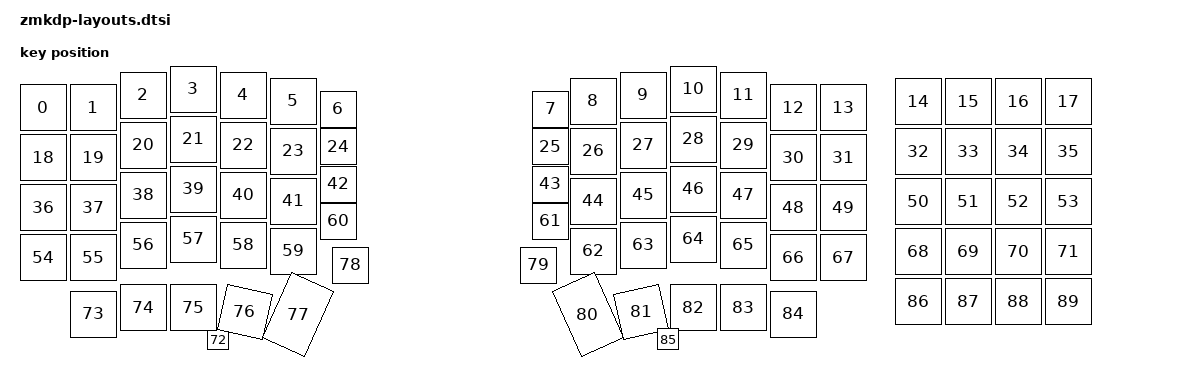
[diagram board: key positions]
#include <physical_layouts.dtsi>

/ {
    physical_layout_zmkdp: physical_layout_zmkdp {
        compatible = "zmk,physical-layout";
        display-name = "zmkdp";
        keys  //                     w   h    x    y     rot    rx    ry
            = <&key_physical_attrs 100 100    0   37       0     0    37>
            , <&key_physical_attrs 100 100  100   37       0   100    37>
            , <&key_physical_attrs 100 100  200   12       0   200    12>
            , <&key_physical_attrs 100 100  300    0       0   300     0>
            , <&key_physical_attrs 100 100  400   12       0   400    12>
            , <&key_physical_attrs 100 100  500   24       0   500    24>
            , <&key_physical_attrs  80  80  600   50       0   600    50>
            , <&key_physical_attrs  80  80 1025   50       0  1025    50>
            , <&key_physical_attrs 100 100 1100   24       0  1100    24>
            , <&key_physical_attrs 100 100 1200   12       0  1200    12>
            , <&key_physical_attrs 100 100 1300    0       0  1300     0>
            , <&key_physical_attrs 100 100 1400   12       0  1400    12>
            , <&key_physical_attrs 100 100 1500   37       0  1500    37>
            , <&key_physical_attrs 100 100 1600   37       0  1600    37>
            , <&key_physical_attrs 100 100 1750   25       0  1750    25>
            , <&key_physical_attrs 100 100 1850   25       0  1850    25>
            , <&key_physical_attrs 100 100 1950   25       0  1950    25>
            , <&key_physical_attrs 100 100 2050   25       0  2050    25>
            , <&key_physical_attrs 100 100    0  137       0     0   137>
            , <&key_physical_attrs 100 100  100  137       0   100   137>
            , <&key_physical_attrs 100 100  200  112       0   200   112>
            , <&key_physical_attrs 100 100  300  100       0   300   100>
            , <&key_physical_attrs 100 100  400  112       0   400   112>
            , <&key_physical_attrs 100 100  500  124       0   500   124>
            , <&key_physical_attrs  80  80  600  125       0   600   125>
            , <&key_physical_attrs  80  80 1025  125       0  1025   125>
            , <&key_physical_attrs 100 100 1100  124       0  1100   124>
            , <&key_physical_attrs 100 100 1200  112       0  1200   112>
            , <&key_physical_attrs 100 100 1300  100       0  1300   100>
            , <&key_physical_attrs 100 100 1400  112       0  1400   112>
            , <&key_physical_attrs 100 100 1500  137       0  1500   137>
            , <&key_physical_attrs 100 100 1600  137       0  1600   137>
            , <&key_physical_attrs 100 100 1750  125       0  1750   125>
            , <&key_physical_attrs 100 100 1850  125       0  1850   125>
            , <&key_physical_attrs 100 100 1950  125       0  1950   125>
            , <&key_physical_attrs 100 100 2050  125       0  2050   125>
            , <&key_physical_attrs 100 100    0  237       0     0   237>
            , <&key_physical_attrs 100 100  100  237       0   100   237>
            , <&key_physical_attrs 100 100  200  212       0   200   212>
            , <&key_physical_attrs 100 100  300  200       0   300   200>
            , <&key_physical_attrs 100 100  400  212       0   400   212>
            , <&key_physical_attrs 100 100  500  224       0   500   224>
            , <&key_physical_attrs  80  80  600  200       0   600   200>
            , <&key_physical_attrs  80  80 1025  200       0  1025   200>
            , <&key_physical_attrs 100 100 1100  224       0  1100   224>
            , <&key_physical_attrs 100 100 1200  212       0  1200   212>
            , <&key_physical_attrs 100 100 1300  200       0  1300   200>
            , <&key_physical_attrs 100 100 1400  212       0  1400   212>
            , <&key_physical_attrs 100 100 1500  237       0  1500   237>
            , <&key_physical_attrs 100 100 1600  237       0  1600   237>
            , <&key_physical_attrs 100 100 1750  225       0  1750   225>
            , <&key_physical_attrs 100 100 1850  225       0  1850   225>
            , <&key_physical_attrs 100 100 1950  225       0  1950   225>
            , <&key_physical_attrs 100 100 2050  225       0  2050   225>
            , <&key_physical_attrs 100 100    0  337       0     0   337>
            , <&key_physical_attrs 100 100  100  337       0   100   337>
            , <&key_physical_attrs 100 100  200  312       0   200   312>
            , <&key_physical_attrs 100 100  300  300       0   300   300>
            , <&key_physical_attrs 100 100  400  312       0   400   312>
            , <&key_physical_attrs 100 100  500  324       0   500   324>
            , <&key_physical_attrs  80  80  600  274       0   600   274>
            , <&key_physical_attrs  80  80 1025  274       0  1025   274>
            , <&key_physical_attrs 100 100 1100  324       0  1100   324>
            , <&key_physical_attrs 100 100 1200  312       0  1200   312>
            , <&key_physical_attrs 100 100 1300  300       0  1300   300>
            , <&key_physical_attrs 100 100 1400  312       0  1400   312>
            , <&key_physical_attrs 100 100 1500  337       0  1500   337>
            , <&key_physical_attrs 100 100 1600  337       0  1600   337>
            , <&key_physical_attrs 100 100 1750  325       0  1750   325>
            , <&key_physical_attrs 100 100 1850  325       0  1850   325>
            , <&key_physical_attrs 100 100 1950  325       0  1950   325>
            , <&key_physical_attrs 100 100 2050  325       0  2050   325>
            , <&key_physical_attrs  50  50  375  525       0   375   525>
            , <&key_physical_attrs 100 100  100  450       0   100   450>
            , <&key_physical_attrs 100 100  200  437       0   200   437>
            , <&key_physical_attrs 100 100  300  437       0   300   437>
            , <&key_physical_attrs 100 100  415  437    1200   415   437>
            , <&key_physical_attrs 100 150  525  408    2400   525   458>
            , <&key_physical_attrs  80  80  625  362       0   625   362>
            , <&key_physical_attrs  80  80 1000  362       0  1000   362>
            , <&key_physical_attrs 100 150 1075  408 (-2400)  1175   458>
            , <&key_physical_attrs 100 100 1185  437 (-1200)  1285   437>
            , <&key_physical_attrs 100 100 1300  437       0  1300   437>
            , <&key_physical_attrs 100 100 1400  437       0  1400   437>
            , <&key_physical_attrs 100 100 1500  450       0  1500   450>
            , <&key_physical_attrs  50  50 1275  525       0  1275   525>
            , <&key_physical_attrs 100 100 1750  425       0  1750   425>
            , <&key_physical_attrs 100 100 1850  425       0  1850   425>
            , <&key_physical_attrs 100 100 1950  425       0  1950   425>
            , <&key_physical_attrs 100 100 2050  425       0  2050   425>
            ;
    };
};
